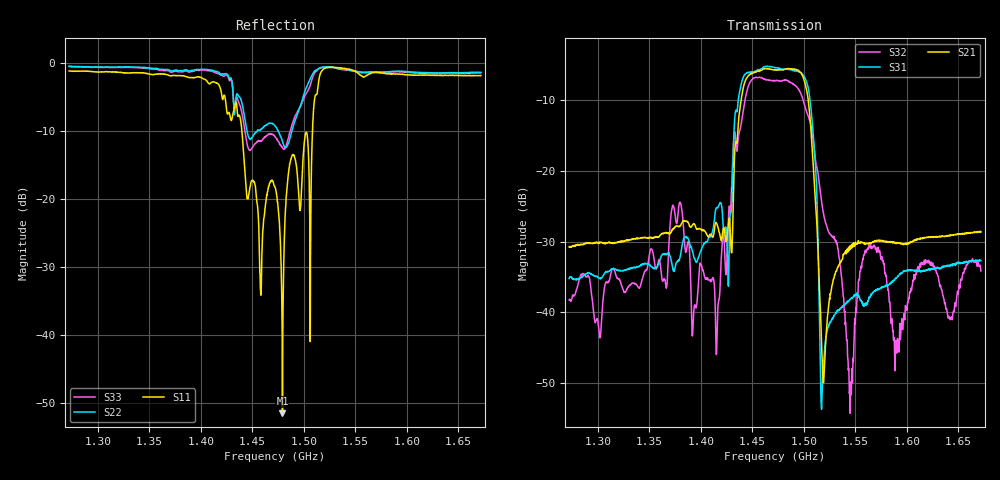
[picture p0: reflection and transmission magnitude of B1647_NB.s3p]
! Matrix data file written by TouchstoneData, EPCOS AG
! FILENAME: "B1647_NB.s3p"
! COMMENT: "(B1647_NB.s3p)"
! INFO: nport=3, nfreq=1601
! DATE: "Thurs Nov 13 2008"
! USER: "Then Lee Ching"
! port | pin | signal
!  1  |  2  | in
!  2  |  4  | out1
!  3  |  6  | out2
#  HZ  S  RI  R  50.0000
! Rohde & Schwarz ZVA/B
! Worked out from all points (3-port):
!   1601 points, 1.272 GHz to 1.672 GHz, reference 50 ohm
!   strongest paths, dB at 1.272 GHz, 1.372 GHz, 1.472 GHz, 1.572 GHz, 1.672 GHz:
!     S21: -30.7, -28.3, -5.7, -29.8, -28.6
!     S31: -35.2, -33.2, -5.3, -36.8, -32.6
!     S32: -38.2, -25.2, -7.2, -30.8, -34.1
!   lowest |S11| = -51.5 dB at 1.479 GHz (marker M1), VSWR 1.01, Z = 49.8 + j0.159 ohm
!   |S11| at or under -10 dB: 1.44 GHz to 1.508 GHz (68.56 MHz wide, 4.65 % of centre)
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1.272e9  -0.2959 -0.8225  -0.0279 0.00823  -0.0165 0.00543
         -0.0279 0.00807  -0.0123 -0.9468  -0.0128 0.00117
         -0.0166 0.00519  -0.0122 0.00115  -0.0665 -0.9396
1.416e9  -0.697 -0.1278  -0.0234 0.0342  -0.002 0.055
         -0.023 0.0341  -0.7173 -0.4744  -0.00739 0.00482
         -0.00185 0.0549  -0.00723 0.00472  -0.7543 -0.3579
1.441e9  -0.1763 0.1755  -0.369 -0.1094  0.4526 0.0814
         -0.3678 -0.1086  -0.1949 0.4203  -0.0721 0.2533
         0.4514 0.0822  -0.0716 0.2538  -0.0636 0.3776
1.472e9  -0.0672 -0.1026  0.5028 -0.1377  -0.4954 0.2152
         0.5019 -0.1344  -0.2114 -0.273  -0.4302 -0.0714
         -0.4952 0.216  -0.4299 -0.0714  -0.2174 -0.1882
1.47925e9  -0.00214 0.00159  0.2778 -0.4426  -0.2191 0.4762
           0.277 -0.4409  -0.2638 0.0403  -0.3596 0.2462
           -0.2199 0.4751  -0.36 0.2476  -0.2026 0.1269
1.50575e9  0.0121 -0.07  0.1889 0.166  -0.284 -0.1711
           0.1875 0.1668  0.7487 -0.0375  0.1755 -0.1452
           -0.282 -0.1714  0.1754 -0.1454  0.6696 -0.0254
1.51775e9  0.8414 -0.2583  -0.0025 0.0038  -0.000729 -0.00261
           -0.00271 0.00397  0.769 -0.5229  -0.0209 -0.0538
           -0.00072 -0.00263  -0.0207 -0.0536  0.7745 -0.5064
1.54525e9  0.2634 -0.8553  -0.027 -0.00805  -0.0121 -0.000226
           -0.027 -0.00801  0.3966 -0.7933  -0.00135 -0.00192
           -0.0124 -0.000317  -0.00137 -0.00189  0.378 -0.7917
1.563e9  0.1562 -0.8123  -0.0308 -0.000538  -0.0123 -0.000492
         -0.0305 -0.000248  0.299 -0.8027  -0.0251 -0.0129
         -0.0124 -0.000602  -0.0254 -0.013  0.28 -0.8049
1.672e9  -0.2155 -0.7792  -0.0356 0.0111  -0.0224 0.00686
         -0.0354 0.0111  0.027 -0.8536  -0.0183 0.00719
         -0.0222 0.00713  -0.0184 0.007  -0.0292 -0.8467
